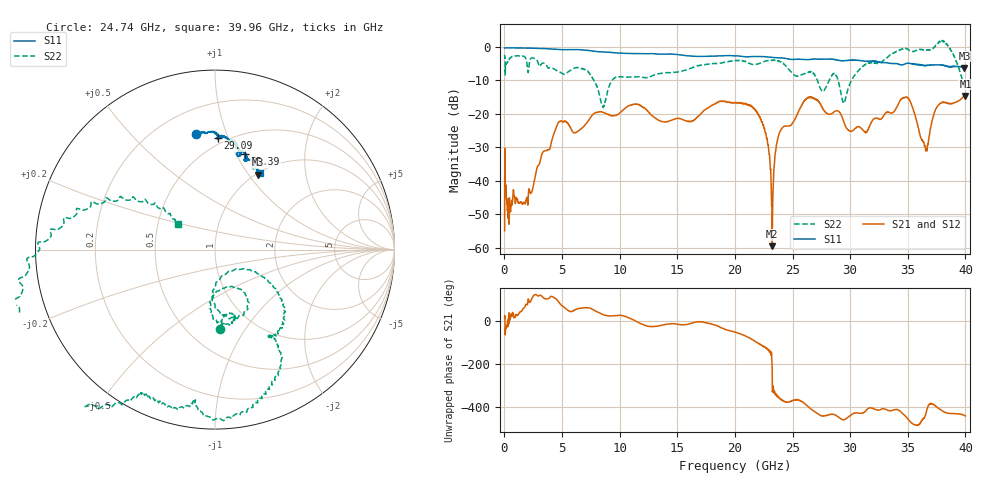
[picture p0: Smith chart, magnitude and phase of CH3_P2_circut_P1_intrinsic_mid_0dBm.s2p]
!Keysight Technologies,N5222B,MY61257109,A.17.25.03
!Date: Tuesday, July 21, 2026 19:44:35
!Correction: S11(C  2-Port  )
!S21(C  2-Port  )
!S12(C  2-Port  )
!S22(C  2-Port  )
!S2P File: Measurements: S11, S21, S12, S22:
# Hz S  dB  R 50
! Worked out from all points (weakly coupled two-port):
!   4000 points, 10 MHz to 40 GHz, reference 50 ohm
!   highest |S21| = -14.68 dB at 40 GHz (marker M1); lowest = -59.5 dB at 23.24 GHz (marker M2)
!   lowest |S11| = -6.4 dB at 39.92 GHz (marker M3), VSWR 2.86, Z = 51 + j55.4 ohm
!   |S11| at or under -10 dB: nowhere
!   |S22| runs from -18.1 to 1.9 dB; largest |S21 - S12| = 0.0027
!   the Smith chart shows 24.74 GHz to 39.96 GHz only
!   S11 on the Smith chart (normalised r, x): 24.74 GHz: 0.35, +0.79; 29.09 GHz: 0.45, +0.92; 35.39 GHz: 0.71, +1.09; 39.96 GHz: 1.01, +1.14
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1e7  -0.39 -179.7  -54.90 15.4  -55.77 35.2  -2.43 -54.6
5.2e8  -0.32 177.6  -49.26 16.3  -49.12 16.0  -3.31 168.5
1.64e9  -0.36 172.6  -46.45 60.9  -46.48 60.8  -2.80 105.4
4.7e9  -0.82 159.3  -22.51 89.8  -22.51 89.8  -7.40 31.2
6.68e9  -0.90 151.5  -24.36 61.8  -24.39 61.7  -6.45 6.5
8.56e9  -1.55 144.7  -19.55 31.5  -19.54 31.2  -18.13 5.9
1.334e10  -2.18 132.0  -21.84 -21.4  -21.84 -21.7  -8.08 3.1
2.001e10  -2.71 113.9  -16.74 -50.0  -16.73 -49.6  -4.16 -37.0
2.223e10  -2.91 107.3  -21.68 -107.9  -21.69 -107.5  -4.84 -49.8
2.324e10  -3.15 103.4  -59.49 60.0  -52.55 123.1  -4.01 -62.6
2.379e10  -3.31 102.1  -26.42 4.8  -26.40 5.1  -4.28 -73.0
2.474e10  -3.68 99.2  -23.56 -14.9  -23.54 -14.7  -7.04 -86.2
2.667e10  -3.70 97.2  -15.16 -50.8  -15.21 -50.9  -7.64 -84.4
2.909e10  -4.13 88.6  -19.56 -89.5  -19.55 -89.5  -12.05 -92.0
3.334e10  -4.84 76.4  -19.51 -55.5  -19.51 -55.4  -2.84 -59.3
3.539e10  -5.05 72.4  -17.81 -116.0  -17.81 -115.8  -1.42 -97.4
3.658e10  -5.67 71.6  -30.53 -68.1  -30.85 -68.6  -0.89 -113.7
3.822e10  -5.62 64.4  -16.68 -63.1  -16.63 -63.2  1.18 -162.2
3.898e10  -5.79 64.9  -16.79 -69.2  -16.76 -69.4  -2.64 161.5
3.992e10  -6.35 60.2  -14.79 -77.7  -14.73 -78.0  -11.96 146.0
3.996e10  -6.12 59.7  -14.80 -79.1  -14.76 -79.3  -12.07 145.4
4e10  -6.31 61.1  -14.68 -80.5  -14.60 -80.4  -12.50 147.8
